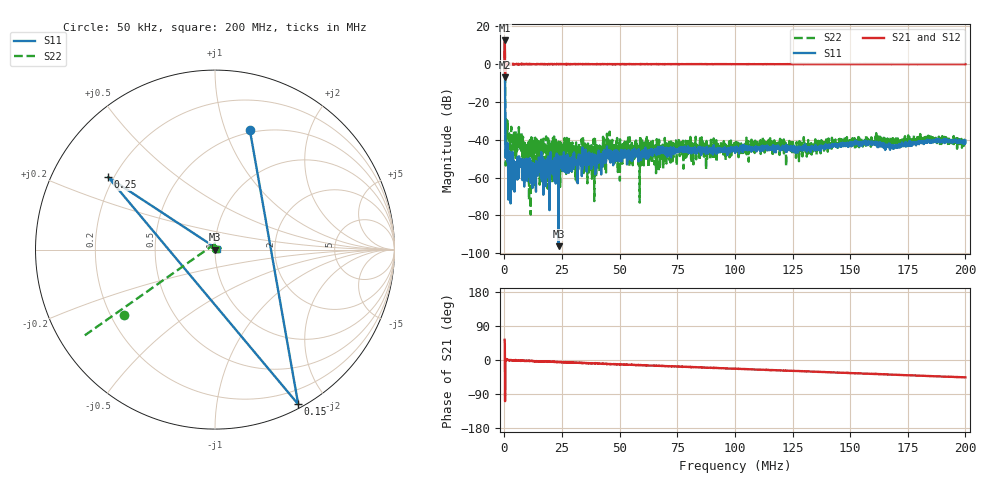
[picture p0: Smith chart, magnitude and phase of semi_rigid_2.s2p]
! 26-Feb-26 2:25:51 PM
! E:\VNA_MEASUREMENTS\HEATED_LOAD\SEMI_RIGID_2.S2P
! CHANNEL.1
! TR.MEASUREMENT
! CORRECTED.DATA
# GHZ S RI R 50.0
! FREQ.GHZ  S11RE  S11IM  S21RE  S21IM  S12RE  S12IM  S22RE  S22IM
!; PortSelection: Port_12
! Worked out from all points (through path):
!   2000 points, 50 kHz to 200 MHz, reference 50 ohm
!   highest |S21| = 12.49 dB at 150 kHz (marker M1); lowest = -6.9 dB at 250 kHz (marker M2)
!   lowest |S11| = -96.2 dB at 23.46 MHz (marker M3), VSWR 1.00, Z = 50 - j0.0008 ohm
!   |S11| at or under -10 dB: 269.8 kHz to end of sweep
!   |S22| runs from -79.6 to 8.5 dB; largest |S21 - S12| = 3.6
!   S11 on the Smith chart (normalised r, x): 50 kHz: 0.47, +1.22; 150 kHz: 0.04, -1.67; 250 kHz: 0.18, +0.30; 200 MHz: 1.02, +0.01
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5e-05  0.1939 0.6683  0.4258 0.5665  0.5018 0.186  -0.5092 -0.3622
0.000150025  0.4638 -0.8622  3.098 2.854  1.581 -0.4358  0.5316 2.595
0.00025005  -0.596 0.4041  -0.1439 -0.4277  0.519 0.177  -0.7254 -0.4778
0.001350325  0.00799 -0.00169  1.044 0.00893  1.009 -0.00599  0.0327 0.00787
0.0024506  0.00133 0.00219  1.002 0.00226  1.009 -0.00509  0.00525 0.00852
0.006751676  0.000456 0.00234  1.001 -0.0185  0.998 -0.0303  0.00481 0.00483
0.01035258  -0.000135 0.00269  0.9981 -0.0303  0.9978 -0.0413  0.00612 0.00606
0.01265315  0.000688 0.000718  0.9947 -0.0546  0.9987 -0.0488  -0.00231 0.00175
0.01535383  0.00218 0.00111  0.9974 -0.0693  0.9967 -0.061  -0.00381 -0.000341
0.01755438  0.00207 0.00108  0.9924 -0.0728  0.9929 -0.0738  -0.000662 0.00429
0.01975493  0.00288 0.000212  0.9965 -0.0867  0.9966 -0.0829  -0.00344 0.00133
0.02345585  1.32e-05 -8e-06  0.9849 -0.0951  0.9963 -0.0929  0.00262 0.00854
0.02745685  0.00107 0.00236  0.9964 -0.1037  0.9953 -0.1128  0.00406 -0.00236
0.03065765  0.00197 0.00239  0.9971 -0.1202  0.9912 -0.1226  0.000188 -0.00157
0.03345835  0.003 0.00269  0.9946 -0.148  0.9874 -0.1311  -0.00591 0.00855
0.04046011  0.00165 0.00253  0.9871 -0.155  0.9842 -0.1601  0.000711 -0.00218
0.04526131  0.00314 0.00334  0.9821 -0.18  0.9786 -0.1806  0.00254 0.00263
0.06676668  0.00373 0.00374  0.9593 -0.2617  0.964 -0.265  0.000746 0.00285
0.100075  0.00334 0.003  0.917 -0.3946  0.9177 -0.3915  0.000677 0.0049
0.1333833  0.00488 0.003  0.8603 -0.5059  0.8607 -0.506  0.00335 0.00506
0.1666917  0.00601 0.00194  0.7843 -0.6192  0.7786 -0.6214  0.00712 0.00468
0.2  0.00916 0.00266  0.6938 -0.7123  0.6883 -0.71  0.00678 0.0041
